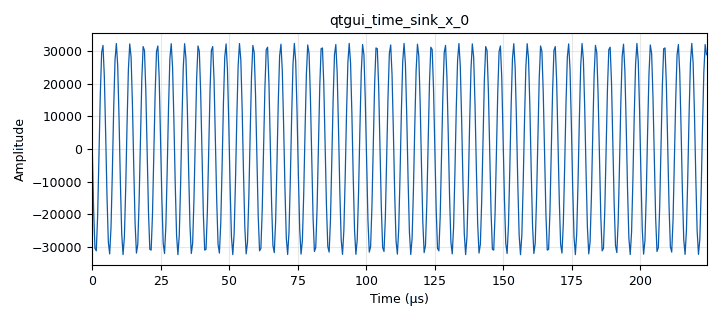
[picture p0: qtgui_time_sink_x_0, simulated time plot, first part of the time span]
<?xml version='1.0' encoding='utf-8'?>
<?grc format='1' created='3.7.13'?>
<flow_graph>
<block>
<key>options</key>
<param><key>id</key><value>top_block</value></param>
<param><key>generate_options</key><value>qt_gui</value></param>
</block>
<block>
<key>variable_qtgui_range</key>
<param><key>id</key><value>ampl1</value></param>
<param><key>value</key><value>0.99</value></param>
<param><key>label</key><value>amplitude1</value></param>
<param><key>orient</key><value>Qt.Horizontal</value></param>
<param><key>start</key><value>0</value></param>
<param><key>step</key><value>0.05</value></param>
<param><key>stop</key><value>1.0</value></param>
</block>
<block>
<key>variable_qtgui_range</key>
<param><key>id</key><value>ampl2</value></param>
<param><key>value</key><value>0</value></param>
<param><key>label</key><value>amplitude2</value></param>
<param><key>orient</key><value>Qt.Horizontal</value></param>
<param><key>start</key><value>0</value></param>
<param><key>step</key><value>0.05</value></param>
<param><key>stop</key><value>1.0</value></param>
</block>
<block>
<key>variable_qtgui_range</key>
<param><key>id</key><value>f_dsp</value></param>
<param><key>value</key><value>12</value></param>
<param><key>label</key><value>freq DSP MHz</value></param>
<param><key>orient</key><value>Qt.Horizontal</value></param>
<param><key>start</key><value>-33</value></param>
<param><key>step</key><value>0.5</value></param>
<param><key>stop</key><value>33</value></param>
</block>
<block>
<key>variable_qtgui_range</key>
<param><key>id</key><value>freq1</value></param>
<param><key>value</key><value>200</value></param>
<param><key>label</key><value>frequency1 kHz</value></param>
<param><key>orient</key><value>Qt.Horizontal</value></param>
<param><key>start</key><value>-1000</value></param>
<param><key>step</key><value>100</value></param>
<param><key>stop</key><value>1000</value></param>
</block>
<block>
<key>variable_qtgui_range</key>
<param><key>id</key><value>freq2</value></param>
<param><key>value</key><value>400</value></param>
<param><key>label</key><value>frequency2 kHz</value></param>
<param><key>orient</key><value>Qt.Horizontal</value></param>
<param><key>start</key><value>-1000</value></param>
<param><key>step</key><value>100</value></param>
<param><key>stop</key><value>1000</value></param>
</block>
<block>
<key>variable_qtgui_range</key>
<param><key>id</key><value>gain_dsp</value></param>
<param><key>value</key><value>-6.0</value></param>
<param><key>label</key><value>gain DSP dB</value></param>
<param><key>orient</key><value>Qt.Horizontal</value></param>
<param><key>start</key><value>-100</value></param>
<param><key>step</key><value>1</value></param>
<param><key>stop</key><value>0</value></param>
</block>
<block>
<key>variable</key>
<param><key>id</key><value>ip</value></param>
<param><key>value</key><value>"192.168.1.76"</value></param>
</block>
<block>
<key>variable</key>
<param><key>id</key><value>samp_rate</value></param>
<param><key>value</key><value>2.048e6</value></param>
</block>
<block>
<key>analog_sig_source_x</key>
<param><key>id</key><value>analog_sig_source_x_0</value></param>
<param><key>amp</key><value>ampl1</value></param>
<param><key>freq</key><value>freq1*1e3</value></param>
<param><key>offset</key><value>0</value></param>
<param><key>type</key><value>complex</value></param>
<param><key>samp_rate</key><value>samp_rate</value></param>
<param><key>waveform</key><value>analog.GR_COS_WAVE</value></param>
</block>
<block>
<key>analog_sig_source_x</key>
<param><key>id</key><value>analog_sig_source_x_0_0</value></param>
<param><key>amp</key><value>ampl2</value></param>
<param><key>freq</key><value>freq2*1e3</value></param>
<param><key>offset</key><value>0</value></param>
<param><key>type</key><value>complex</value></param>
<param><key>samp_rate</key><value>samp_rate</value></param>
<param><key>waveform</key><value>analog.GR_COS_WAVE</value></param>
</block>
<block>
<key>blocks_add_xx</key>
<param><key>id</key><value>blocks_add_xx_0</value></param>
<param><key>type</key><value>complex</value></param>
</block>
<block>
<key>blocks_complex_to_float</key>
<param><key>id</key><value>blocks_complex_to_float_0</value></param>
</block>
<block>
<key>blocks_float_to_short</key>
<param><key>id</key><value>blocks_float_to_short_0</value></param>
<param><key>scale</key><value>32767.0</value></param>
</block>
<block>
<key>blocks_float_to_short</key>
<param><key>id</key><value>blocks_float_to_short_0_0</value></param>
<param><key>scale</key><value>32767.0</value></param>
</block>
<block>
<key>blocks_short_to_float</key>
<param><key>id</key><value>blocks_short_to_float_0</value></param>
<param><key>scale</key><value>1</value></param>
</block>
<block>
<key>iio_attr_sink</key>
<param><key>id</key><value>iio_attr_sink</value></param>
<param><key>attr_type</key><value>1</value></param>
<param><key>channel</key><value>"voltage0"</value></param>
<param><key>device</key><value>"dexter_dsp_tx"</value></param>
<param><key>output</key><value>True</value></param>
<param><key>required_enable</key><value>False</value></param>
<param><key>uri</key><value>ip</value></param>
</block>
<block>
<key>iio_attr_updater</key>
<param><key>id</key><value>iio_attr_updater_0_0_0_0</value></param>
<param><key>attr</key><value>"frequency1"</value></param>
<param><key>interval</key><value>1000</value></param>
<param><key>value</key><value>str(int(f_dsp*1e6))</value></param>
</block>
<block>
<key>iio_attr_updater</key>
<param><key>id</key><value>iio_attr_updater_0_0_0_0_0</value></param>
<param><key>attr</key><value>"gain1"</value></param>
<param><key>interval</key><value>1000</value></param>
<param><key>value</key><value>str(int(65530*10**(gain_dsp/20)))</value></param>
</block>
<block>
<key>iio_device_sink</key>
<param><key>id</key><value>iio_device_sink_0</value></param>
<param><key>buffer_size</key><value>2**18</value></param>
<param><key>channels</key><value>["voltage0","voltage1"]</value></param>
<param><key>cyclic</key><value>False</value></param>
<param><key>device</key><value>ad9957_tx1</value></param>
<param><key>uri</key><value>ip</value></param>
<param><key>interpolation</key><value>1</value></param>
<param><key>device_phy</key><value>ad9957_tx1</value></param>
<param><key>params</key><value>[]</value></param>
</block>
<block>
<key>import</key>
<param><key>id</key><value>import_0</value></param>
<param><key>import</key><value>import math</value></param>
</block>
<block>
<key>qtgui_time_sink_x</key>
<param><key>id</key><value>qtgui_time_sink_x_0</value></param>
<param><key>autoscale</key><value>True</value></param>
<param><key>grid</key><value>True</value></param>
<param><key>color1</key><value>"blue"</value></param>
<param><key>label1</key><value></value></param>
<param><key>size</key><value>2**10</value></param>
<param><key>srate</key><value>samp_rate</value></param>
<param><key>type</key><value>float</value></param>
</block>
<connection><source_block_id>analog_sig_source_x_0</source_block_id><sink_block_id>blocks_add_xx_0</sink_block_id><source_key>0</source_key><sink_key>0</sink_key></connection>
<connection><source_block_id>analog_sig_source_x_0_0</source_block_id><sink_block_id>blocks_add_xx_0</sink_block_id><source_key>0</source_key><sink_key>1</sink_key></connection>
<connection><source_block_id>blocks_add_xx_0</source_block_id><sink_block_id>blocks_complex_to_float_0</sink_block_id><source_key>0</source_key><sink_key>0</sink_key></connection>
<connection><source_block_id>blocks_complex_to_float_0</source_block_id><sink_block_id>blocks_float_to_short_0_0</sink_block_id><source_key>1</source_key><sink_key>0</sink_key></connection>
<connection><source_block_id>blocks_complex_to_float_0</source_block_id><sink_block_id>blocks_float_to_short_0</sink_block_id><source_key>0</source_key><sink_key>0</sink_key></connection>
<connection><source_block_id>blocks_float_to_short_0</source_block_id><sink_block_id>blocks_short_to_float_0</sink_block_id><source_key>0</source_key><sink_key>0</sink_key></connection>
<connection><source_block_id>blocks_float_to_short_0</source_block_id><sink_block_id>iio_device_sink_0</sink_block_id><source_key>0</source_key><sink_key>0</sink_key></connection>
<connection><source_block_id>blocks_float_to_short_0_0</source_block_id><sink_block_id>iio_device_sink_0</sink_block_id><source_key>0</source_key><sink_key>1</sink_key></connection>
<connection><source_block_id>blocks_short_to_float_0</source_block_id><sink_block_id>qtgui_time_sink_x_0</sink_block_id><source_key>0</source_key><sink_key>0</sink_key></connection>
<connection><source_block_id>iio_attr_updater_0_0_0_0</source_block_id><sink_block_id>iio_attr_sink</sink_block_id><source_key>out</source_key><sink_key>attr</sink_key></connection>
<connection><source_block_id>iio_attr_updater_0_0_0_0_0</source_block_id><sink_block_id>iio_attr_sink</sink_block_id><source_key>out</source_key><sink_key>attr</sink_key></connection>
</flow_graph>
